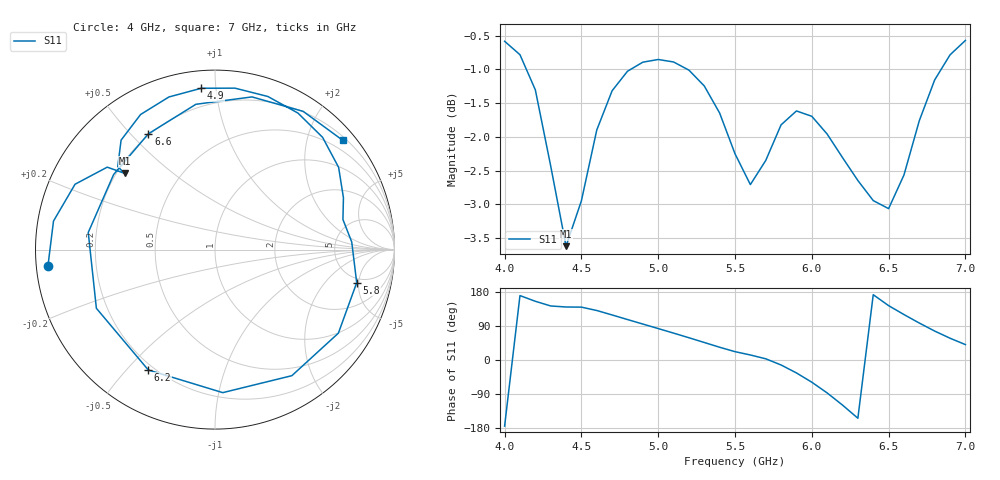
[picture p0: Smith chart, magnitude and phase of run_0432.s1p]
! Touchstone file exported from HFSS 2024.2.0
!  File:  C:/Users/wsak9/Desktop/Sim Fast/Widenad Patch/WP_AI_V1_sweep.aedt
!  Generated:  09:44:22 AM Oct 14, 2026
!  Design:  A1_model
!  Project:  WP_AI_V1_sweep
!  Setup:  Setup1
!  Solution:  Sweep
! Variables:
!  Air_gap = 1.54mm
!  Curve_Amp1 = 1.93
!  Curve_len1 = 1
!  Curve_pos = 11.795mm
!  Extra = 4.14mm
!  H_sub = 0.79mm
!  L_Patch = 19.59mm
!  L_Patch1 = 19.28mm
!  Sx = 4.84mm
!  Sy = 2.9mm
!  WS = 0.54mm
!  W_Patch = 22.71mm
!  W_Patch1 = 15.14mm
!Data is not renormalized
# GHz S MA
! Terminal data exported
! Port[1] = 1
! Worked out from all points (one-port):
!   31 points, 4 GHz to 7 GHz, reference per port
!   lowest |S11| = -3.6 dB at 4.4 GHz (marker M1), VSWR 4.87
!   |S11| at or under -10 dB: nowhere
!   S11 on the Smith chart (normalised r, x): 4 GHz: 0.03, -0.05; 4.9 GHz: 0.09, +0.91; 5.8 GHz: 4.37, -4.71; 6.2 GHz: 0.18, -0.58; 6.6 GHz: 0.19, +0.56; 7 GHz: 0.27, +2.68
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4  0.9349 -174.5
4.1  0.9137 170.0
4.2  0.8606 155.0
4.3  0.756 142.6
4.4  0.6593 139.9
4.5  0.7124 139.5
4.6  0.8037 130.6
4.8  0.8883 106.8
4.9  0.9022 94.8
5  0.9063 83.0
5.2  0.89 58.7
5.4  0.8273 33.6
5.5  0.7718 22.0
5.6  0.7323 13.2
5.7  0.763 3.2
5.8  0.8108 -13.1
5.9  0.8302 -34.1
6  0.8227 -58.6
6.1  0.7981 -86.9
6.2  0.7668 -119.0
6.3  0.7374 -153.7
6.4  0.7126 172.3
6.5  0.7028 143.5
6.6  0.7443 119.9
6.7  0.8166 97.5
6.8  0.8753 76.4
6.9  0.9135 57.5
7  0.9362 40.6
